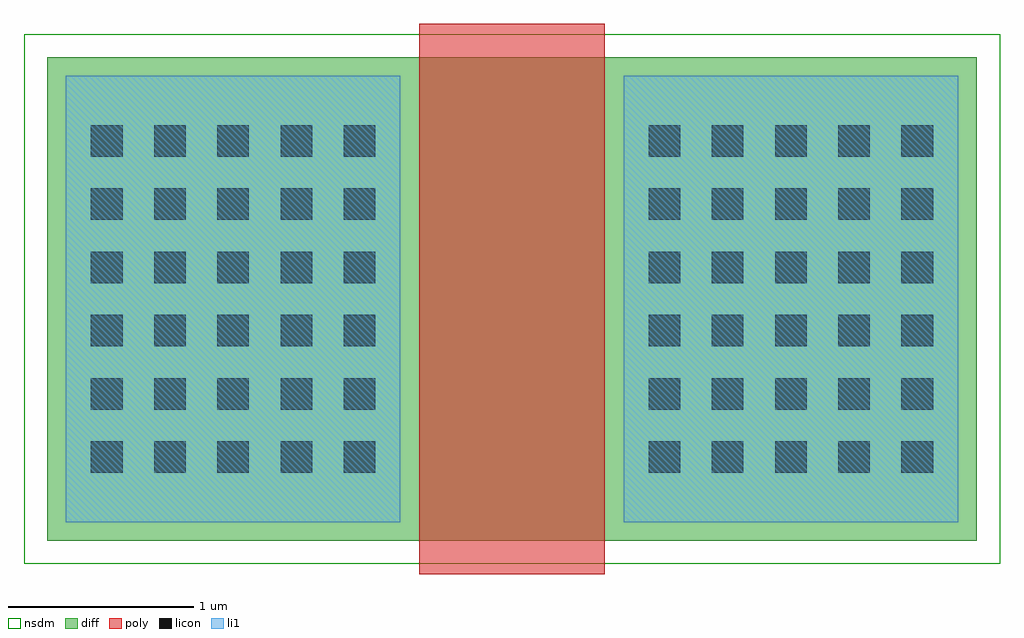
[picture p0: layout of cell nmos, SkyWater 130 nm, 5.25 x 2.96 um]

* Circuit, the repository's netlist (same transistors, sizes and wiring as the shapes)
* SPICE3 file created from nmos.ext - technology: sky130A

X0 a_300_n260# a_200_n278# a_0_n260# SUB sky130_fd_pr__nfet_01v8 ad=0p pd=0u as=0p ps=0u w=2.6e+06u l=1e+06u

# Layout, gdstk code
import gdstk
lib = gdstk.Library(unit=1e-6, precision=1e-09)
def R(c, l, rs):  # rectangles x0, y0, x1, y1
    for r in rs: c.add(gdstk.rectangle(r[:2], r[2:], *l))
def A(c, l, x, y, w, h, nx, ny, dx, dy):  # array of equal rectangles
    R(c, l, [(x+i*dx, y+j*dy, x+i*dx+w, y+j*dy+h) for i in range(nx) for j in range(ny)])
diff = (65, 20)
poly = (66, 20)
licon = (66, 44)
li1 = (67, 20)
nsdm = (93, 44)

nmos = lib.new_cell('nmos')
R(nmos, diff, [(0,-2.6,5,0)])
R(nmos, poly, [(2,-2.78,3,0.18)])
A(nmos, licon, 0.235, -2.235, 0.17, 0.17, 5, 6, 0.34, 0.34)
A(nmos, licon, 3.235, -2.235, 0.17, 0.17, 5, 6, 0.34, 0.34)
R(nmos, li1, [(0.1,-2.5,1.9,-0.1), (3.1,-2.5,4.9,-0.1)])
R(nmos, nsdm, [(-0.125,-2.725,5.125,0.125)])

lib.write_gds('nmos.gds')
